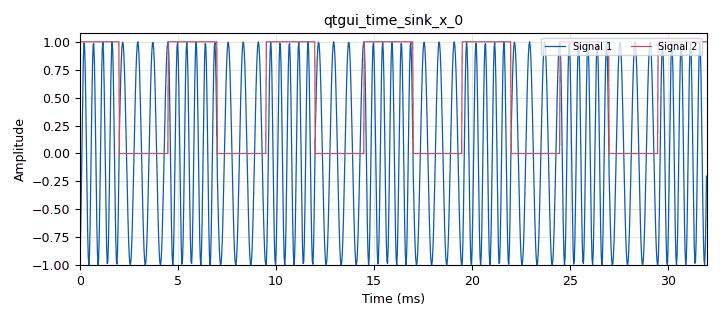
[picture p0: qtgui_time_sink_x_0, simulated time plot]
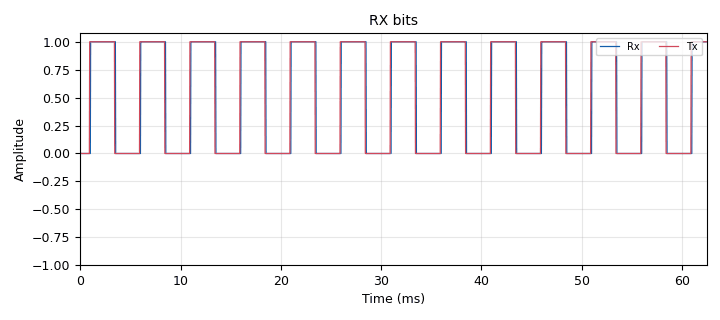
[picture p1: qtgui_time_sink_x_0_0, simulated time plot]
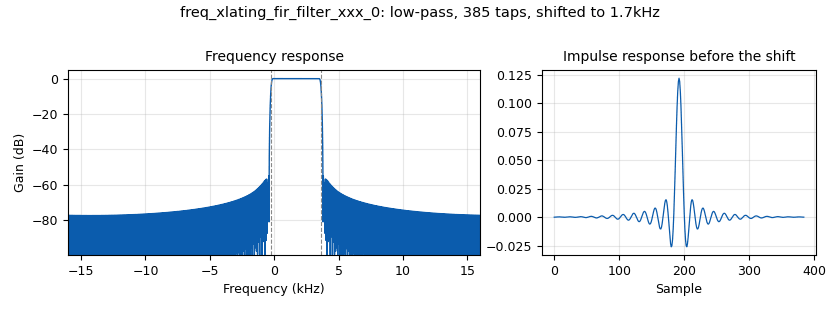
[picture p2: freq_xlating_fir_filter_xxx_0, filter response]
options:
  parameters:
    generate_options: qt_gui
    id: psk
    output_language: python
    title: Not titled yet
  states: {}

blocks:
- name: bandwith
  id: variable_qtgui_range
  parameters:
    start: '10'
    step: '10'
    stop: '10000'
    value: '200'
  states: {}
- name: delay
  id: variable_qtgui_range
  parameters:
    start: '0'
    step: '1'
    stop: '100'
    value: '30'
  states: {}
- name: feq_cuttof
  id: variable_qtgui_range
  parameters:
    start: '100'
    step: '10'
    stop: '10000'
    value: '1950'
  states: {}
- name: fsk_deviation_hz
  id: variable_qtgui_range
  parameters:
    start: '1'
    step: '10'
    stop: '10000'
    value: '10'
  states: {}
- name: samp_rate
  id: variable
  parameters:
    value: '32000'
  states: {}
- name: analog_quadrature_demod_cf_0
  id: analog_quadrature_demod_cf
  parameters:
    gain: fsk_deviation_hz
  states: {}
- name: analog_random_source_x_0
  id: analog_random_source_x
  parameters:
    max: '2'
    min: '0'
    num_samps: '1000'
    repeat: 'True'
    type: byte
  states: {state: disabled}
- name: analog_sig_source_x_0
  id: analog_sig_source_x
  parameters:
    amp: '1'
    freq: '200'
    offset: '0'
    phase: '0'
    samp_rate: samp_rate
    type: float
    waveform: analog.GR_SQR_WAVE
  states: {}
- name: analog_sig_source_x_0_1
  id: analog_sig_source_x
  parameters:
    amp: '1'
    freq: '1000'
    offset: '0'
    phase: '0'
    samp_rate: samp_rate
    type: byte
    waveform: analog.GR_SQR_WAVE
  states: {state: disabled}
- name: analog_sig_source_x_0_1_0
  id: analog_sig_source_x
  parameters:
    amp: '1'
    freq: '1000'
    offset: '0'
    phase: '3.1415926535897932384626433832795'
    samp_rate: samp_rate
    type: byte
    waveform: analog.GR_SQR_WAVE
  states: {state: disabled}
- name: blocks_add_const_vxx_0
  id: blocks_add_const_vxx
  parameters:
    const: '0.764706'
    type: float
  states: {}
- name: blocks_char_to_float_0
  id: blocks_char_to_float
  parameters:
    scale: '1'
  states: {state: disabled}
- name: blocks_char_to_float_1
  id: blocks_char_to_float
  parameters:
    scale: '1'
  states: {}
- name: blocks_delay_0_0
  id: blocks_delay
  parameters:
    delay: delay
    type: float
  states: {}
- name: blocks_multiply_const_vxx_0
  id: blocks_multiply_const_vxx
  parameters:
    const: '0.47055'
    type: float
  states: {}
- name: blocks_sample_and_hold_xx_0
  id: blocks_sample_and_hold_xx
  parameters:
    type: float
  states: {state: disabled}
- name: blocks_sample_and_hold_xx_0_0
  id: blocks_sample_and_hold_xx
  parameters:
    type: float
  states: {state: disabled}
- name: blocks_throttle2_0
  id: blocks_throttle2
  parameters:
    samples_per_second: samp_rate
    type: float
  states: {}
- name: blocks_throttle2_0_0
  id: blocks_throttle2
  parameters:
    samples_per_second: samp_rate
    type: float
  states: {state: disabled}
- name: blocks_throttle2_0_1
  id: blocks_throttle2
  parameters:
    samples_per_second: samp_rate
    type: float
  states: {}
- name: blocks_throttle2_0_1_0
  id: blocks_throttle2
  parameters:
    samples_per_second: samp_rate
    type: float
  states: {}
- name: blocks_vco_f_0
  id: blocks_vco_f
  parameters:
    amplitude: '1'
    samp_rate: '32000'
    sensitivity: 10.6814e3
  states: {}
- name: digital_binary_slicer_fb_0
  id: digital_binary_slicer_fb
  parameters: {}
  states: {}
- name: freq_xlating_fir_filter_xxx_0
  id: freq_xlating_fir_filter_xxx
  parameters:
    center_freq: '1700'
    decim: '1'
    samp_rate: samp_rate
    taps: firdes.low_pass(1.0,samp_rate,feq_cuttof,bandwith)
    type: fcc
  states: {}
- name: qtgui_time_sink_x_0
  id: qtgui_time_sink_x
  parameters:
    nconnections: '2'
    size: '1024'
    srate: samp_rate
    type: float
  states: {}
- name: qtgui_time_sink_x_0_0
  id: qtgui_time_sink_x
  parameters:
    label1: 'Rx '
    label2: Tx
    name: '"RX bits"'
    nconnections: '2'
    size: '2000'
    srate: samp_rate
    type: float
  states: {}

connections:
- [analog_quadrature_demod_cf_0, '0', digital_binary_slicer_fb_0, '0']
- [analog_random_source_x_0, '0', blocks_char_to_float_0, '0']
- [analog_sig_source_x_0, '0', blocks_multiply_const_vxx_0, '0']
- [analog_sig_source_x_0, '0', blocks_throttle2_0_1, '0']
- [analog_sig_source_x_0, '0', qtgui_time_sink_x_0, '1']
- [analog_sig_source_x_0_1, '0', blocks_sample_and_hold_xx_0, '1']
- [analog_sig_source_x_0_1_0, '0', blocks_sample_and_hold_xx_0_0, '1']
- [blocks_add_const_vxx_0, '0', blocks_vco_f_0, '0']
- [blocks_char_to_float_0, '0', blocks_throttle2_0_0, '0']
- [blocks_char_to_float_1, '0', blocks_throttle2_0_1_0, '0']
- [blocks_delay_0_0, '0', qtgui_time_sink_x_0_0, '1']
- [blocks_multiply_const_vxx_0, '0', blocks_add_const_vxx_0, '0']
- [blocks_sample_and_hold_xx_0, '0', blocks_sample_and_hold_xx_0_0, '0']
- [blocks_throttle2_0, '0', freq_xlating_fir_filter_xxx_0, '0']
- [blocks_throttle2_0, '0', qtgui_time_sink_x_0, '0']
- [blocks_throttle2_0_0, '0', blocks_sample_and_hold_xx_0, '0']
- [blocks_throttle2_0_1, '0', blocks_delay_0_0, '0']
- [blocks_throttle2_0_1_0, '0', qtgui_time_sink_x_0_0, '0']
- [blocks_vco_f_0, '0', blocks_throttle2_0, '0']
- [digital_binary_slicer_fb_0, '0', blocks_char_to_float_1, '0']
- [freq_xlating_fir_filter_xxx_0, '0', analog_quadrature_demod_cf_0, '0']

metadata:
  file_format: 1
  grc_version: 3.10.10.0
